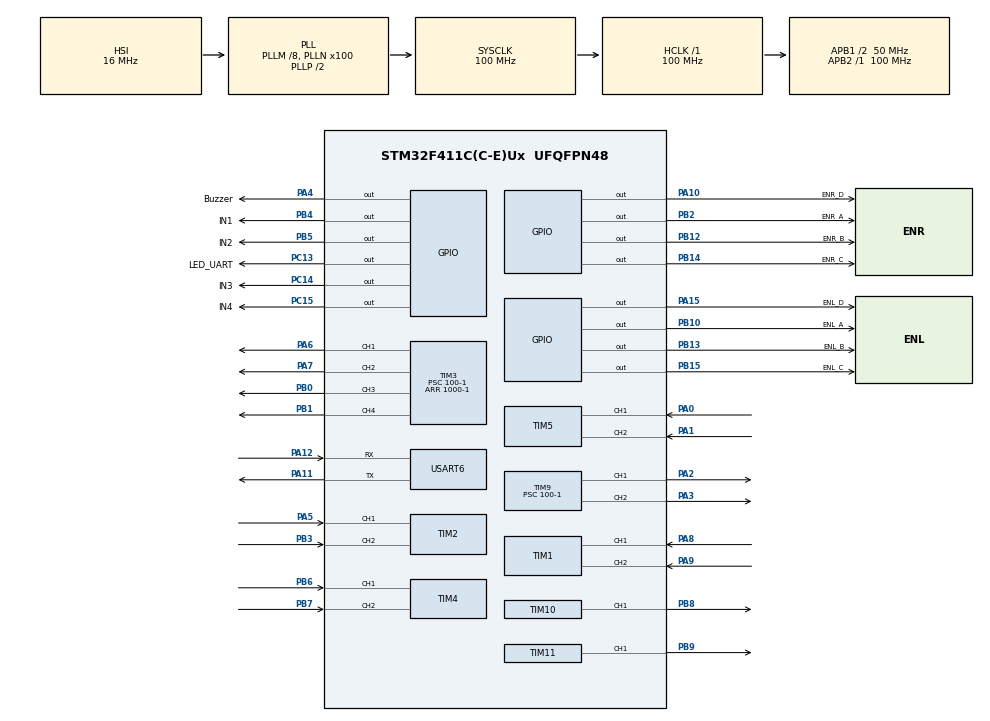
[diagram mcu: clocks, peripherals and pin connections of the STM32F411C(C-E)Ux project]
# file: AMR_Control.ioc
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Dma.Request0=USART6_RX
Dma.USART6_RX.0.Direction=DMA_PERIPH_TO_MEMORY
Dma.USART6_RX.0.FIFOMode=DMA_FIFOMODE_DISABLE
Dma.USART6_RX.0.Instance=DMA2_Stream1
Dma.USART6_RX.0.MemDataAlignment=DMA_MDATAALIGN_BYTE
Dma.USART6_RX.0.MemInc=DMA_MINC_ENABLE
Dma.USART6_RX.0.Mode=DMA_CIRCULAR
Dma.USART6_RX.0.PeriphDataAlignment=DMA_PDATAALIGN_BYTE
Dma.USART6_RX.0.PeriphInc=DMA_PINC_DISABLE
Dma.USART6_RX.0.Priority=DMA_PRIORITY_LOW
Mcu.Family=STM32F4
Mcu.Name=STM32F411C(C-E)Ux
Mcu.Package=UFQFPN48
NVIC.DMA2_Stream1_IRQn=true\:0\:0\:false\:false\:true\:false\:true\:true
NVIC.PriorityGroup=NVIC_PRIORITYGROUP_4
NVIC.TIM1_CC_IRQn=true\:0\:0\:false\:false\:true\:true\:true\:true
NVIC.TIM2_IRQn=true\:0\:0\:false\:false\:true\:true\:true\:true
NVIC.TIM4_IRQn=true\:0\:0\:false\:false\:true\:true\:true\:true
NVIC.TIM5_IRQn=true\:0\:0\:false\:false\:true\:true\:true\:true
NVIC.USART6_IRQn=true\:0\:0\:false\:false\:true\:true\:true\:true
PA0-WKUP.Signal=S_TIM5_CH1
PA1.Signal=S_TIM5_CH2
PA10.GPIO_Label=ENR_D
PA10.Signal=GPIO_Output
PA11.Mode=Asynchronous
PA11.Signal=USART6_TX
PA12.Mode=Asynchronous
PA12.Signal=USART6_RX
PA13.Mode=Serial_Wire
PA13.Signal=SYS_JTMS-SWDIO
PA14.Mode=Serial_Wire
PA14.Signal=SYS_JTCK-SWCLK
PA15.GPIO_Label=ENL_D
PA15.Signal=GPIO_Output
PA2.Signal=S_TIM9_CH1
PA3.Signal=S_TIM9_CH2
PA4.GPIO_Label=Buzzer
PA4.Signal=GPIO_Output
PA5.Signal=S_TIM2_CH1_ETR
PA6.Signal=S_TIM3_CH1
PA7.Signal=S_TIM3_CH2
PA8.Signal=S_TIM1_CH1
PA9.Signal=S_TIM1_CH2
PB0.Signal=S_TIM3_CH3
PB1.Signal=S_TIM3_CH4
PB10.GPIO_Label=ENL_A
PB10.Signal=GPIO_Output
PB12.GPIO_Label=ENR_B
PB12.Signal=GPIO_Output
PB13.GPIO_Label=ENL_B
PB13.Signal=GPIO_Output
PB14.GPIO_Label=ENR_C
PB14.Signal=GPIO_Output
PB15.GPIO_Label=ENL_C
PB15.Signal=GPIO_Output
PB2.GPIO_Label=ENR_A
PB2.Signal=GPIO_Output
PB3.Signal=S_TIM2_CH2
PB4.GPIO_Label=IN1
PB4.Signal=GPIO_Output
PB5.GPIO_Label=IN2
PB5.Signal=GPIO_Output
PB6.Signal=S_TIM4_CH1
PB7.Signal=S_TIM4_CH2
PB8.Signal=S_TIM10_CH1
PB9.Signal=S_TIM11_CH1
PC13-ANTI_TAMP.GPIO_Label=LED_UART
PC13-ANTI_TAMP.Signal=GPIO_Output
PC14-OSC32_IN.GPIO_Label=IN3
PC14-OSC32_IN.Signal=GPIO_Output
PC15-OSC32_OUT.GPIO_Label=IN4
PC15-OSC32_OUT.Signal=GPIO_Output
PH0\ -\ OSC_IN.Mode=HSE-External-Oscillator
PH0\ -\ OSC_IN.Signal=RCC_OSC_IN
PH1\ -\ OSC_OUT.Mode=HSE-External-Oscillator
PH1\ -\ OSC_OUT.Signal=RCC_OSC_OUT
ProjectManager.HeapSize=0x200
ProjectManager.StackSize=0x400
ProjectManager.TargetToolchain=STM32CubeIDE
RCC.48MHZClocksFreq_Value=50000000
RCC.AHBFreq_Value=100000000
RCC.APB1CLKDivider=RCC_HCLK_DIV2
RCC.APB1Freq_Value=50000000
RCC.APB1TimFreq_Value=100000000
RCC.APB2Freq_Value=100000000
RCC.APB2TimFreq_Value=100000000
RCC.CortexFreq_Value=100000000
RCC.HCLKFreq_Value=100000000
RCC.HSE_VALUE=25000000
RCC.HSI_VALUE=16000000
RCC.LSE_VALUE=32768
RCC.PLLM=8
RCC.PLLN=100
RCC.SYSCLKFreq_VALUE=100000000
RCC.SYSCLKSource=RCC_SYSCLKSOURCE_PLLCLK
RCC.VCOOutputFreq_Value=200000000
SH.S_TIM10_CH1.0=TIM10_CH1,PWM Generation1 CH1
SH.S_TIM11_CH1.0=TIM11_CH1,PWM Generation1 CH1
SH.S_TIM1_CH1.0=TIM1_CH1,Encoder_Interface
SH.S_TIM1_CH2.0=TIM1_CH2,Encoder_Interface
SH.S_TIM2_CH1_ETR.0=TIM2_CH1,Encoder_Interface
SH.S_TIM2_CH2.0=TIM2_CH2,Encoder_Interface
SH.S_TIM3_CH1.0=TIM3_CH1,PWM Generation1 CH1
SH.S_TIM3_CH2.0=TIM3_CH2,PWM Generation2 CH2
SH.S_TIM3_CH3.0=TIM3_CH3,PWM Generation3 CH3
SH.S_TIM3_CH4.0=TIM3_CH4,PWM Generation4 CH4
SH.S_TIM4_CH1.0=TIM4_CH1,Encoder_Interface
SH.S_TIM4_CH2.0=TIM4_CH2,Encoder_Interface
SH.S_TIM5_CH1.0=TIM5_CH1,Encoder_Interface
SH.S_TIM5_CH2.0=TIM5_CH2,Encoder_Interface
SH.S_TIM9_CH1.0=TIM9_CH1,PWM Generation1 CH1
SH.S_TIM9_CH2.0=TIM9_CH2,PWM Generation2 CH2
TIM10.Channel=TIM_CHANNEL_1
TIM10.Period=1000-1
TIM10.Prescaler=100-1
TIM11.Channel=TIM_CHANNEL_1
TIM11.Period=1000-1
TIM11.Prescaler=100-1
TIM3.Channel-PWM\ Generation1\ CH1=TIM_CHANNEL_1
TIM3.Channel-PWM\ Generation2\ CH2=TIM_CHANNEL_2
TIM3.Channel-PWM\ Generation3\ CH3=TIM_CHANNEL_3
TIM3.Channel-PWM\ Generation4\ CH4=TIM_CHANNEL_4
TIM3.Period=1000-1
TIM3.Prescaler=100-1
TIM9.Channel-PWM\ Generation1\ CH1=TIM_CHANNEL_1
TIM9.Channel-PWM\ Generation2\ CH2=TIM_CHANNEL_2
TIM9.Period=1000-1
TIM9.Prescaler=100-1
USART6.VirtualMode=VM_ASYNC
VP_TIM10_VS_ClockSourceINT.Mode=Enable_Timer
VP_TIM11_VS_ClockSourceINT.Mode=Enable_Timer
VP_TIM3_VS_ClockSourceINT.Mode=Internal
VP_TIM9_VS_ClockSourceINT.Mode=Internal
board=custom

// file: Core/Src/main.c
/* USER CODE BEGIN Header */
/**
  ******************************************************************************
  * @file           : main.c
  * @brief          : Main program body
  ******************************************************************************
  * @attention
  *
  * Copyright (c) 2024 STMicroelectronics.
  * All rights reserved.
  *
  * This software is licensed under terms that can be found in the LICENSE file
  * in the root directory of this software component.
  * If no LICENSE file comes with this software, it is provided AS-IS.
  *
  ******************************************************************************
  */
/* USER CODE END Header */
#include "main.h"

/* USER CODE BEGIN Includes */
#include "Motor.h"
#include "Aktuator.h"
#include "PID_Driver.h"
#include "BNO08X.h"
#include "communication_full.h"
#include <math.h>
#include <stdlib.h>
#include <stdbool.h>
#include <stdio.h>
/* USER CODE END Includes */

/* USER CODE BEGIN PTD */
#define SEND_DATA_INTERVAL	100
/* USER CODE END PTD */

TIM_HandleTypeDef htim1;
TIM_HandleTypeDef htim2;
TIM_HandleTypeDef htim3;
TIM_HandleTypeDef htim4;
TIM_HandleTypeDef htim5;
TIM_HandleTypeDef htim9;
TIM_HandleTypeDef htim10;
TIM_HandleTypeDef htim11;

UART_HandleTypeDef huart6;
DMA_HandleTypeDef hdma_usart6_rx;

/* USER CODE BEGIN PV */
//---------------- MOTOR DECLARATION ---------------------//
extern motor_t motor_A, motor_B, motor_C, motor_D;

//---------------- ENCODER DECLARATION ---------------------//
extern encoder_t encoder_A, encoder_B, encoder_C, encoder_D;

//---------------- AKTUATOR DECLARATION --------------------//
aktuator_t aktuator;

//---------------- KINEMATIC DECLARATION ---------------------//
kinematic_t kinematic;

//---------------- PID DECLARATION ---------------------//
PIDController pid_vy;
PIDController pid_vx;
PIDController pid_vt;
PIDController pid_yaw;

//---------------- BNO08X DECLARATION ---------------------//
BNO08X_Typedef BNO08X_sensor;

// Typedef Communication PC
com_ctrl_get_t message_from_sensor;

// Step Message
uint16_t currentStep = 0;

// Offset Yaw
int16_t Yaw_Init = 0;
bool is_yaw_calibrated = false;

/* USER CODE END PV */

void SystemClock_Config(void);
static void MX_GPIO_Init(void);
static void MX_DMA_Init(void);
static void MX_TIM1_Init(void);
static void MX_TIM2_Init(void);
static void MX_TIM3_Init(void);
static void MX_TIM4_Init(void);
static void MX_TIM5_Init(void);
static void MX_TIM9_Init(void);
static void MX_TIM10_Init(void);
static void MX_TIM11_Init(void);
static void MX_USART6_UART_Init(void);
/* USER CODE BEGIN PFP */

bool run_to_point(double sx, double sy, double st, double error);
bool handle_heading(int16_t heading, int16_t error);
bool run_to_point_orientation(double sx, double sy, uint16_t heading, double error);
bool set_heading(int16_t heading, int16_t error);
bool run_to_point_with_yaw(int16_t sx, int16_t sy, uint16_t heading, int16_t error);
/* USER CODE END PFP */

/* USER CODE BEGIN 0 */

void HAL_TIM_IC_CaptureCallback(TIM_HandleTypeDef *htim)
{
	if(htim->Instance  == TIM1){
		encoder_A.counter  	= __HAL_TIM_GET_COUNTER(htim);
		encoder_A.counts 	= (int16_t)encoder_A.counter;
		encoder_A.position	= encoder_A.counts/4;
	}
	if(htim->Instance  == TIM2){
		encoder_B.counter  	= __HAL_TIM_GET_COUNTER(htim);
		encoder_B.counts 	= (int16_t)encoder_B.counter;
		encoder_B.position	= encoder_B.counts/4;
	}
	if(htim->Instance  == TIM4){
		encoder_C.counter  	= __HAL_TIM_GET_COUNTER(htim);
		encoder_C.counts 	= (int16_t)encoder_C.counter;
		encoder_C.position	= encoder_C.counts/4;
	}
	if(htim->Instance  == TIM5){
		encoder_D.counter  	= __HAL_TIM_GET_COUNTER(htim);
		encoder_D.counts 	= (int16_t)encoder_D.counter;
		encoder_D.position	= encoder_D.counts/4;
	}

	// Encoder Eksternal
	kinematic.S1 = -encoder_A.position*PULSE_TO_DIST;
	kinematic.S2 = -encoder_B.position*PULSE_TO_DIST;
	kinematic.S3 = encoder_C.position*PULSE_TO_DIST;
	kinematic.S4 = -encoder_D.position*PULSE_TO_DIST;
	kinematic.V1 = -encoder_A.speed*PULSE_TO_DIST;
	kinematic.V2 = -encoder_B.speed*PULSE_TO_DIST;
	kinematic.V3 = encoder_C.speed*PULSE_TO_DIST;
	kinematic.V4 = -encoder_D.speed*PULSE_TO_DIST;

	// External Encoder (Nomor 3->x dan 4->y)
	kinematic.St = kinematic.St + agv_kinematic_ext_St(kinematic.Sx,kinematic.Sy,encoder_C.position*PULSE_TO_DIST,-encoder_D.position*PULSE_TO_DIST, 0);
	kinematic.Vt = kinematic.Vt + agv_kinematic_ext_St(kinematic.Vx,kinematic.Vy,encoder_C.speed*PULSE_TO_DIST,-encoder_D.speed*PULSE_TO_DIST, 0);
	kinematic.Sx = agv_kinematic_ext_Sx(-encoder_A.position*PULSE_TO_DIST,-encoder_B.position*PULSE_TO_DIST,encoder_C.position*PULSE_TO_DIST,-encoder_D.position*PULSE_TO_DIST, 0);
	kinematic.Sy = agv_kinematic_ext_Sy(-encoder_A.position*PULSE_TO_DIST,-encoder_B.position*PULSE_TO_DIST,encoder_C.position*PULSE_TO_DIST,-encoder_D.position*PULSE_TO_DIST, 0);
	kinematic.Vx = agv_kinematic_ext_Sx(-encoder_A.speed*PULSE_TO_DIST,-encoder_B.speed*PULSE_TO_DIST,encoder_C.speed*PULSE_TO_DIST,-encoder_D.speed*PULSE_TO_DIST, 0);
	kinematic.Vy = agv_kinematic_ext_Sy(-encoder_A.speed*PULSE_TO_DIST,-encoder_B.speed*PULSE_TO_DIST,encoder_C.speed*PULSE_TO_DIST,-encoder_D.speed*PULSE_TO_DIST, 0);
}

uint32_t CurrentTick = 0;
uint32_t SendDataTick = 0;
int astarlength = 0;
int astarid = 0;
int lastlength = 0;
int lastid = 0;
int lastcmd = 0;
int last_i = 0;
int len_msg = 0;
uint32_t msgid = 0;
uint32_t current_msgid = 0;
void HAL_UART_RxCpltCallback(UART_HandleTypeDef *huart)
{
	if(huart == &huart6){
		rx_ctrl_get(&message_from_sensor);
		astarlength = message_from_sensor.astar_length;
		astarid = message_from_sensor.astar_id;
		msgid++;
	}
}

int16_t data_sx=0;
int16_t data_sy=0;
int16_t data_st=0;
/* USER CODE END 0 */

uint8_t flag_interrupt = 0;
uint8_t last_interrupted = 0;
uint8_t x_arr[100];
uint8_t y_arr[100];
//int last_length;
int main(void)
{

  /* MCU Configuration--------------------------------------------------------*/

  /* Reset of all peripherals, Initializes the Flash interface and the Systick. */
  HAL_Init();

  /* Configure the system clock */
  SystemClock_Config();

  /* Initialize all configured peripherals */
  MX_GPIO_Init();
  MX_DMA_Init();
  MX_TIM1_Init();
  MX_TIM2_Init();
  MX_TIM3_Init();
  MX_TIM4_Init();
  MX_TIM5_Init();
  MX_TIM9_Init();
  MX_TIM10_Init();
  MX_TIM11_Init();
  MX_USART6_UART_Init();
  /* USER CODE BEGIN 2 */

  //+++++++++++++++++++++++++++++++++ MOTOR INITIALIZATION +++++++++++++++++++++++++++++//
  // Configuration 'Motor A'
  motor_A.tim_R = &htim9;
  motor_A.tim_L = &htim9;
  motor_A.tim_number_R = TIM9;
  motor_A.tim_number_L = TIM9;
  motor_A.channel_R = 1;
  motor_A.channel_L = 2;
  motor_A.EN_PORT_R = ENR_C_GPIO_Port;
  motor_A.EN_PORT_L = ENL_C_GPIO_Port;
  motor_A.EN_PIN_R = ENR_C_Pin;
  motor_A.EN_PIN_L = ENL_C_Pin;

  // Configuration 'Motor B'
  motor_B.tim_R = &htim3;
  motor_B.tim_L = &htim3;
  motor_B.tim_number_R = TIM3;
  motor_B.tim_number_L = TIM3;
  motor_B.channel_R = 1;
  motor_B.channel_L = 2;
  motor_B.EN_PORT_R = ENR_B_GPIO_Port;
  motor_B.EN_PORT_L = ENL_B_GPIO_Port;
  motor_B.EN_PIN_R = ENR_B_Pin;
  motor_B.EN_PIN_L = ENL_B_Pin;

  // Configuration 'Motor C'
  motor_C.tim_R = &htim3;
  motor_C.tim_L = &htim3;
  motor_C.tim_number_R = TIM3;
  motor_C.tim_number_L = TIM3;
  motor_C.channel_R = 3;
  motor_C.channel_L = 4;
  motor_C.EN_PORT_R = ENR_A_GPIO_Port;
  motor_C.EN_PORT_L = ENL_A_GPIO_Port;
  motor_C.EN_PIN_R = ENR_A_Pin;
  motor_C.EN_PIN_L = ENL_A_Pin;

  // Configuration 'Motor D'
  motor_D.tim_R = &htim10;
  motor_D.tim_L = &htim11;
  motor_D.tim_number_R = TIM10;
  motor_D.tim_number_L = TIM11;
  motor_D.channel_R = 1;
  motor_D.channel_L = 1;
  motor_D.EN_PORT_R = ENR_D_GPIO_Port;
  motor_D.EN_PORT_L = ENL_D_GPIO_Port;
  motor_D.EN_PIN_R = ENR_D_Pin;
  motor_D.EN_PIN_L = ENL_D_Pin;

  //+++++++++++++++++++++++++++++++++ ENCODER INITIALIZATION ++++++++++++++++++++++++++++++//
  agv_encoder_start(encoder_A, &htim1, TIM1);
  agv_encoder_start(encoder_B, &htim2, TIM2);
  agv_encoder_start(encoder_C, &htim4, TIM4);
  agv_encoder_start(encoder_D, &htim5, TIM5);

  //+++++++++++++++++++++++++++++++++ ENCODER TO MOTOR ++++++++++++++++++++++++++++++++++++//
  motor_A.ENC = encoder_A;
  motor_B.ENC = encoder_B;
  motor_C.ENC = encoder_C;
  motor_D.ENC = encoder_D;

  //+++++++++++++++++++++++++++++++++ AKTUATOR INTIALIZATION ++++++++++++++++++++++++++++++//
  aktuator.PORT_IN1 = GPIOB;
  aktuator.PIN_IN1 = GPIO_PIN_5;
  aktuator.PORT_IN2 = GPIOC;
  aktuator.PIN_IN2 = GPIO_PIN_13;
  aktuator.PORT_IN3 = GPIOC;
  aktuator.PIN_IN3 = GPIO_PIN_14;
  aktuator.PORT_IN4 = GPIOC;
  aktuator.PIN_IN4 = GPIO_PIN_15 ;

  //+++++++++++++++++++++++++++++++++ COM START +++++++++++++++++++++++++++++++++++++++++++//
  komunikasi_ctrl_init(&huart6);
  rx_ctrl_start_get();

  //+++++++++++++++++++++++++++++++++ PID INITIALIZATION ++++++++++++++++++++++++++++++//
  // Y Axis
  pid_vy.Kp = 19;				pid_vy.Ki = 1;				pid_vy.Kd = 0.001;
  pid_vy.limMax = 600; 		pid_vy.limMin = -600; 		pid_vy.limMaxInt = 1; 	pid_vy.limMinInt = -1;
  pid_vy.T_sample = 0.1;
  PIDController_Init(&pid_vy);

  // X Axis
  pid_vx.Kp = 19;				pid_vx.Ki = 1;				pid_vx.Kd = 0.001;
  pid_vx.limMax = 600; 		pid_vx.limMin = -600; 		pid_vx.limMaxInt = 1; 	pid_vx.limMinInt = -1;
  pid_vx.T_sample = 0.1;
  PIDController_Init(&pid_vx);

  // T Axis
  pid_vt.Kp = 19;				pid_vt.Ki = 1;				pid_vt.Kd = 0.001;
  pid_vt.limMax = 600; 		pid_vt.limMin = -600; 		pid_vt.limMaxInt = 1; 	pid_vt.limMinInt = -1;
  pid_vt.T_sample = 0.1;
  PIDController_Init(&pid_vt);
    // Yaw Direction
//    pid_yaw.Kp = 40;			pid_yaw.Ki = 48;				pid_yaw.Kd = 0.02;
    pid_yaw.Kp = 18;			pid_yaw.Ki = 15;			pid_yaw.Kd = 0.45;
    pid_yaw.limMax = 800; 		pid_yaw.limMin = -800; 		pid_yaw.limMaxInt = 0.1; 	pid_yaw.limMinInt = -0.1;
    pid_yaw.T_sample = 0.1;
    PIDController_Init(&pid_yaw);

	HAL_GPIO_WritePin(GPIOC, GPIO_PIN_13, GPIO_PIN_RESET);

	//------------------------------ ONE STEP TEST --------------------------------------------------------//
	aktuator_down(aktuator);
	HAL_Delay(3000);
	agv_reset_all(motor_A, motor_B, motor_C, motor_D);
	agv_stop_all(motor_A, motor_B, motor_C, motor_D);
	aktuator_reset(aktuator);

  /* USER CODE END 2 */

  /* Infinite loop */
  /* USER CODE BEGIN WHILE */
	while(1)
	  {
		//--------------------- SEND DATA TESTING ----------------------------//
//			tx_ctrl_send_data(kinematic.V1, kinematic.V2, kinematic.V3, kinematic.V4, kinematic.S1,kinematic.S3,kinematic.S4);
		//--------------------- YAW CALIBRATION PROGRAM ----------------------------//
	//		if(!is_yaw_calibrated && message_from_sensor.yaw != 0){
	//			Yaw_Init = message_from_sensor.yaw;
	//		}

		//--------------------- SENDING DATA ODOMETRY ----------------------------//

		CurrentTick = HAL_GetTick();

		if(CurrentTick-SendDataTick > 100){
			tx_ctrl_send_Odometry(kinematic.Sx,kinematic.Sy,kinematic.St,kinematic.Vx,kinematic.Vy,kinematic.Vt);
			SendDataTick = CurrentTick;
		}

	//------------------------- TEST BENCH ----------------------------------------//
//		  agv_reset_all(motor_A, motor_B, motor_C, motor_D);
//		  agv_stop_all(motor_A, motor_B, motor_C, motor_D);
//		  agv_speed_to_pwm(motor_A, 500);
//		  HAL_Delay(2000);
//		  agv_reset_all(motor_A, motor_B, motor_C, motor_D);
//		  agv_stop_all(motor_A, motor_B, motor_C, motor_D);
//		  agv_speed_to_pwm(motor_B, 500);
//		  HAL_Delay(2000);
//		  agv_reset_all(motor_A, motor_B, motor_C, motor_D);
//		  agv_stop_all(motor_A, motor_B, motor_C, motor_D);
//		  agv_speed_to_pwm(motor_C, 500);
//		  HAL_Delay(2000);
//		  agv_reset_all(motor_A, motor_B, motor_C, motor_D);
//		  agv_stop_all(motor_A, motor_B, motor_C, motor_D);
//		  agv_speed_to_pwm(motor_D, 500);
//		  HAL_Delay(2000);

	//----------------------------- TEST KINEMATIC --------------------------------------------//

	//	  agv_inverse_kinematic(500, 0, 0, 0, motor_A, motor_B, motor_C, motor_D);
	//	  HAL_Delay(2000);
	//	  agv_inverse_kinematic(-500, 0, 0, 0, motor_A, motor_B, motor_C, motor_D);
	//	  HAL_Delay(2000);
	//	  agv_inverse_kinematic(0, 500, 0, 0, motor_A, motor_B, motor_C, motor_D);
	//	  HAL_Delay(2000);
	//	  agv_inverse_kinematic(0, -500, 0, 0, motor_A, motor_B, motor_C, motor_D);
	//	  HAL_Delay(2000);
	//	  agv_inverse_kinematic(0, 0, 500, 0, motor_A, motor_B, motor_C, motor_D);
	//	  HAL_Delay(2000);
	//	  agv_inverse_kinematic(0, 0, -500, 0, motor_A, motor_B, motor_C, motor_D);
	//	  HAL_Delay(2000);

	//----------------------------- TEST POINT --------------------------------------------//
	//	  run_to_point(0,300,0,0.1);
	//	  run_to_point_orientation(0,300,0,3);
	//	  run_to_point_with_yaw(0,5000,0,1);
	//    handle_heading(45,5);
	//	  handle_heading(180,5);
	//	  HAL_Delay(100);
	//	set_heading(90,0.1);

	//----------------------------- TEST HEADING --------------------------------------------//
	//		run_to_point_orientation(0,100,90,2);
	//----------------------------- RUNNING COMMAND --------------------------------------------//
	//	  if(currentStep <= message_from_sensor.step){
	//		  if(run_to_point(message_from_sensor.x_pos*100,message_from_sensor.y_pos*100,message_from_sensor.orientation*100,5)){
	//
	//			// Sending to PC that Task is Done
	//			currentStep = message_from_sensor.step;
	//
	//			// Sending to PC that Task is Done
	//			tx_ctrl_task_done(currentStep);
	//		  }
	//	  }
	//----------------------------- RUNNING ASTAR --------------------------------------------//
		if(lastid != message_from_sensor.astar_msg_id && (message_from_sensor.astar_id+1) == message_from_sensor.astar_length){

			len_msg = message_from_sensor.astar_total_length-1;

			for(int i = len_msg; i >= 0; i--){
				last_i = i;

				uint32_t cntr = 0;
				while(!run_to_point_with_yaw(message_from_sensor.astar_coordinate_x[i]*500,message_from_sensor.astar_coordinate_y[i]*500,0,5)){
					cntr++;
					if(cntr > 8000){
						break;
					}
					// Interrupt message from Command
					if(message_from_sensor.id_data != lastcmd){
						agv_reset_all(motor_A, motor_B, motor_C, motor_D);
						agv_stop_all(motor_A, motor_B, motor_C, motor_D);
						break;
					}
				}
					handle_heading(0,1);

				if(flag_interrupt==1){
					HAL_Delay(100);
				}

				if((message_from_sensor.id_data != lastcmd && (message_from_sensor.x_data != 0 || message_from_sensor.y_data != 0 || message_from_sensor.t_data != 0))){
					lastlength = message_from_sensor.astar_total_length;
					lastcmd = message_from_sensor.id_data;
					flag_interrupt = 1;
					i=-1;
				}
				tx_ctrl_send_Odometry(kinematic.Sx,kinematic.Sy,kinematic.St,kinematic.Vx,kinematic.Vy,kinematic.Vt);

			}
			tx_ctrl_task_done(message_from_sensor.astar_msg_id, &message_from_sensor);
			lastlength = message_from_sensor.astar_total_length;
			lastid = message_from_sensor.astar_msg_id;
		}
		if(message_from_sensor.aktuator == 1 && (message_from_sensor.id_data != lastcmd)){
			aktuator_up(aktuator);
			message_from_sensor.aktuator = 0;
			lastcmd = message_from_sensor.id_data;
		}
		else if((message_from_sensor.aktuator == 2) && (message_from_sensor.id_data != lastcmd)){
			aktuator_down(aktuator);
			message_from_sensor.aktuator = 0;
			lastcmd = message_from_sensor.id_data;
		}
		if((message_from_sensor.id_data != lastcmd && (message_from_sensor.x_data != 0 || message_from_sensor.y_data != 0 || message_from_sensor.t_data != 0))){
			data_sx = kinematic.Sx+message_from_sensor.x_data;
			data_sy = kinematic.Sy+message_from_sensor.y_data;
			data_st = (abs(message_from_sensor.yaw)/100)+message_from_sensor.t_data;

			while(!run_to_point_with_yaw(data_sx,data_sy,0,5)){}
			lastcmd = message_from_sensor.id_data;
			lastlength = message_from_sensor.astar_total_length;
		}
		else{
			agv_stop_all(motor_A, motor_B, motor_C, motor_D);
		}

	//----------------------------- END ASTAR --------------------------------------------//

	    /* USER CODE END WHILE */

	  }
}

void SystemClock_Config(void)
{
  RCC_OscInitTypeDef RCC_OscInitStruct = {0};
  RCC_ClkInitTypeDef RCC_ClkInitStruct = {0};

  /** Configure the main internal regulator output voltage
  */
  __HAL_RCC_PWR_CLK_ENABLE();
  __HAL_PWR_VOLTAGESCALING_CONFIG(PWR_REGULATOR_VOLTAGE_SCALE1);

  /** Initializes the RCC Oscillators according to the specified parameters
  * in the RCC_OscInitTypeDef structure.
  */
  RCC_OscInitStruct.OscillatorType = RCC_OSCILLATORTYPE_HSI;
  RCC_OscInitStruct.HSIState = RCC_HSI_ON;
  RCC_OscInitStruct.HSICalibrationValue = RCC_HSICALIBRATION_DEFAULT;
  RCC_OscInitStruct.PLL.PLLState = RCC_PLL_ON;
  RCC_OscInitStruct.PLL.PLLSource = RCC_PLLSOURCE_HSI;
  RCC_OscInitStruct.PLL.PLLM = 8;
  RCC_OscInitStruct.PLL.PLLN = 100;
  RCC_OscInitStruct.PLL.PLLP = RCC_PLLP_DIV2;
  RCC_OscInitStruct.PLL.PLLQ = 4;
  if (HAL_RCC_OscConfig(&RCC_OscInitStruct) != HAL_OK)
  {
    Error_Handler();
  }

  /** Initializes the CPU, AHB and APB buses clocks
  */
  RCC_ClkInitStruct.ClockType = RCC_CLOCKTYPE_HCLK|RCC_CLOCKTYPE_SYSCLK
                              |RCC_CLOCKTYPE_PCLK1|RCC_CLOCKTYPE_PCLK2;
  RCC_ClkInitStruct.SYSCLKSource = RCC_SYSCLKSOURCE_PLLCLK;
  RCC_ClkInitStruct.AHBCLKDivider = RCC_SYSCLK_DIV1;
  RCC_ClkInitStruct.APB1CLKDivider = RCC_HCLK_DIV2;
  RCC_ClkInitStruct.APB2CLKDivider = RCC_HCLK_DIV1;

  if (HAL_RCC_ClockConfig(&RCC_ClkInitStruct, FLASH_LATENCY_3) != HAL_OK)
  {
    Error_Handler();
  }
}

static void MX_TIM1_Init(void)
{

  TIM_Encoder_InitTypeDef sConfig = {0};
  TIM_MasterConfigTypeDef sMasterConfig = {0};

  htim1.Instance = TIM1;
  htim1.Init.Prescaler = 0;
  htim1.Init.CounterMode = TIM_COUNTERMODE_UP;
  htim1.Init.Period = 65535;
  htim1.Init.ClockDivision = TIM_CLOCKDIVISION_DIV1;
  htim1.Init.RepetitionCounter = 0;
  htim1.Init.AutoReloadPreload = TIM_AUTORELOAD_PRELOAD_DISABLE;
  sConfig.EncoderMode = TIM_ENCODERMODE_TI1;
  sConfig.IC1Polarity = TIM_ICPOLARITY_RISING;
  sConfig.IC1Selection = TIM_ICSELECTION_DIRECTTI;
  sConfig.IC1Prescaler = TIM_ICPSC_DIV1;
  sConfig.IC1Filter = 0;
  sConfig.IC2Polarity = TIM_ICPOLARITY_RISING;
  sConfig.IC2Selection = TIM_ICSELECTION_DIRECTTI;
  sConfig.IC2Prescaler = TIM_ICPSC_DIV1;
  sConfig.IC2Filter = 0;
  if (HAL_TIM_Encoder_Init(&htim1, &sConfig) != HAL_OK)
  {
    Error_Handler();
  }
  sMasterConfig.MasterOutputTrigger = TIM_TRGO_RESET;
  sMasterConfig.MasterSlaveMode = TIM_MASTERSLAVEMODE_DISABLE;
  if (HAL_TIMEx_MasterConfigSynchronization(&htim1, &sMasterConfig) != HAL_OK)
  {
    Error_Handler();
  }

}

static void MX_TIM2_Init(void)
{

  TIM_Encoder_InitTypeDef sConfig = {0};
  TIM_MasterConfigTypeDef sMasterConfig = {0};

  htim2.Instance = TIM2;
  htim2.Init.Prescaler = 0;
  htim2.Init.CounterMode = TIM_COUNTERMODE_UP;
  htim2.Init.Period = 4294967295;
  htim2.Init.ClockDivision = TIM_CLOCKDIVISION_DIV1;
  htim2.Init.AutoReloadPreload = TIM_AUTORELOAD_PRELOAD_DISABLE;
  sConfig.EncoderMode = TIM_ENCODERMODE_TI1;
  sConfig.IC1Polarity = TIM_ICPOLARITY_RISING;
  sConfig.IC1Selection = TIM_ICSELECTION_DIRECTTI;
  sConfig.IC1Prescaler = TIM_ICPSC_DIV1;
  sConfig.IC1Filter = 0;
  sConfig.IC2Polarity = TIM_ICPOLARITY_RISING;
  sConfig.IC2Selection = TIM_ICSELECTION_DIRECTTI;
  sConfig.IC2Prescaler = TIM_ICPSC_DIV1;
  sConfig.IC2Filter = 0;
  if (HAL_TIM_Encoder_Init(&htim2, &sConfig) != HAL_OK)
  {
    Error_Handler();
  }
  sMasterConfig.MasterOutputTrigger = TIM_TRGO_RESET;
  sMasterConfig.MasterSlaveMode = TIM_MASTERSLAVEMODE_DISABLE;
  if (HAL_TIMEx_MasterConfigSynchronization(&htim2, &sMasterConfig) != HAL_OK)
  {
    Error_Handler();
  }

}

static void MX_TIM3_Init(void)
{

  TIM_ClockConfigTypeDef sClockSourceConfig = {0};
  TIM_MasterConfigTypeDef sMasterConfig = {0};
  TIM_OC_InitTypeDef sConfigOC = {0};

  htim3.Instance = TIM3;
  htim3.Init.Prescaler = 100-1;
  htim3.Init.CounterMode = TIM_COUNTERMODE_UP;
  htim3.Init.Period = 1000-1;
  htim3.Init.ClockDivision = TIM_CLOCKDIVISION_DIV1;
  htim3.Init.AutoReloadPreload = TIM_AUTORELOAD_PRELOAD_DISABLE;
  if (HAL_TIM_Base_Init(&htim3) != HAL_OK)
  {
    Error_Handler();
  }
  sClockSourceConfig.ClockSource = TIM_CLOCKSOURCE_INTERNAL;
  if (HAL_TIM_ConfigClockSource(&htim3, &sClockSourceConfig) != HAL_OK)
  {
    Error_Handler();
  }
  if (HAL_TIM_PWM_Init(&htim3) != HAL_OK)
  {
    Error_Handler();
  }
  sMasterConfig.MasterOutputTrigger = TIM_TRGO_RESET;
  sMasterConfig.MasterSlaveMode = TIM_MASTERSLAVEMODE_DISABLE;
  if (HAL_TIMEx_MasterConfigSynchronization(&htim3, &sMasterConfig) != HAL_OK)
  {
    Error_Handler();
  }
  sConfigOC.OCMode = TIM_OCMODE_PWM1;
  sConfigOC.Pulse = 0;
  sConfigOC.OCPolarity = TIM_OCPOLARITY_HIGH;
  sConfigOC.OCFastMode = TIM_OCFAST_DISABLE;
  if (HAL_TIM_PWM_ConfigChannel(&htim3, &sConfigOC, TIM_CHANNEL_1) != HAL_OK)
  {
    Error_Handler();
  }
  if (HAL_TIM_PWM_ConfigChannel(&htim3, &sConfigOC, TIM_CHANNEL_2) != HAL_OK)
  {
    Error_Handler();
  }
  if (HAL_TIM_PWM_ConfigChannel(&htim3, &sConfigOC, TIM_CHANNEL_3) != HAL_OK)
  {
    Error_Handler();
  }
  if (HAL_TIM_PWM_ConfigChannel(&htim3, &sConfigOC, TIM_CHANNEL_4) != HAL_OK)
  {
    Error_Handler();
  }
  HAL_TIM_MspPostInit(&htim3);

}

static void MX_TIM4_Init(void)
{

  TIM_Encoder_InitTypeDef sConfig = {0};
  TIM_MasterConfigTypeDef sMasterConfig = {0};

  htim4.Instance = TIM4;
  htim4.Init.Prescaler = 0;
  htim4.Init.CounterMode = TIM_COUNTERMODE_UP;
  htim4.Init.Period = 65535;
  htim4.Init.ClockDivision = TIM_CLOCKDIVISION_DIV1;
  htim4.Init.AutoReloadPreload = TIM_AUTORELOAD_PRELOAD_DISABLE;
  sConfig.EncoderMode = TIM_ENCODERMODE_TI1;
  sConfig.IC1Polarity = TIM_ICPOLARITY_RISING;
  sConfig.IC1Selection = TIM_ICSELECTION_DIRECTTI;
  sConfig.IC1Prescaler = TIM_ICPSC_DIV1;
  sConfig.IC1Filter = 0;
  sConfig.IC2Polarity = TIM_ICPOLARITY_RISING;
  sConfig.IC2Selection = TIM_ICSELECTION_DIRECTTI;
  sConfig.IC2Prescaler = TIM_ICPSC_DIV1;
  sConfig.IC2Filter = 0;
  if (HAL_TIM_Encoder_Init(&htim4, &sConfig) != HAL_OK)
  {
    Error_Handler();
  }
  sMasterConfig.MasterOutputTrigger = TIM_TRGO_RESET;
  sMasterConfig.MasterSlaveMode = TIM_MASTERSLAVEMODE_DISABLE;
  if (HAL_TIMEx_MasterConfigSynchronization(&htim4, &sMasterConfig) != HAL_OK)
  {
    Error_Handler();
  }

}

static void MX_TIM5_Init(void)
{

  TIM_Encoder_InitTypeDef sConfig = {0};
  TIM_MasterConfigTypeDef sMasterConfig = {0};

  htim5.Instance = TIM5;
  htim5.Init.Prescaler = 0;
  htim5.Init.CounterMode = TIM_COUNTERMODE_UP;
  htim5.Init.Period = 4294967295;
  htim5.Init.ClockDivision = TIM_CLOCKDIVISION_DIV1;
  htim5.Init.AutoReloadPreload = TIM_AUTORELOAD_PRELOAD_DISABLE;
  sConfig.EncoderMode = TIM_ENCODERMODE_TI1;
  sConfig.IC1Polarity = TIM_ICPOLARITY_RISING;
  sConfig.IC1Selection = TIM_ICSELECTION_DIRECTTI;
  sConfig.IC1Prescaler = TIM_ICPSC_DIV1;
  sConfig.IC1Filter = 0;
  sConfig.IC2Polarity = TIM_ICPOLARITY_RISING;
  sConfig.IC2Selection = TIM_ICSELECTION_DIRECTTI;
  sConfig.IC2Prescaler = TIM_ICPSC_DIV1;
  sConfig.IC2Filter = 0;
  if (HAL_TIM_Encoder_Init(&htim5, &sConfig) != HAL_OK)
  {
    Error_Handler();
  }
  sMasterConfig.MasterOutputTrigger = TIM_TRGO_RESET;
  sMasterConfig.MasterSlaveMode = TIM_MASTERSLAVEMODE_DISABLE;
  if (HAL_TIMEx_MasterConfigSynchronization(&htim5, &sMasterConfig) != HAL_OK)
  {
    Error_Handler();
  }

}

static void MX_TIM9_Init(void)
{

  TIM_ClockConfigTypeDef sClockSourceConfig = {0};
  TIM_OC_InitTypeDef sConfigOC = {0};

  htim9.Instance = TIM9;
  htim9.Init.Prescaler = 100-1;
  htim9.Init.CounterMode = TIM_COUNTERMODE_UP;
  htim9.Init.Period = 1000-1;
  htim9.Init.ClockDivision = TIM_CLOCKDIVISION_DIV1;
  htim9.Init.AutoReloadPreload = TIM_AUTORELOAD_PRELOAD_DISABLE;
  if (HAL_TIM_Base_Init(&htim9) != HAL_OK)
  {
    Error_Handler();
  }
  sClockSourceConfig.ClockSource = TIM_CLOCKSOURCE_INTERNAL;
  if (HAL_TIM_ConfigClockSource(&htim9, &sClockSourceConfig) != HAL_OK)
  {
    Error_Handler();
  }
  if (HAL_TIM_PWM_Init(&htim9) != HAL_OK)
  {
    Error_Handler();
  }
  sConfigOC.OCMode = TIM_OCMODE_PWM1;
  sConfigOC.Pulse = 0;
  sConfigOC.OCPolarity = TIM_OCPOLARITY_HIGH;
  sConfigOC.OCFastMode = TIM_OCFAST_DISABLE;
  if (HAL_TIM_PWM_ConfigChannel(&htim9, &sConfigOC, TIM_CHANNEL_1) != HAL_OK)
  {
    Error_Handler();
  }
  if (HAL_TIM_PWM_ConfigChannel(&htim9, &sConfigOC, TIM_CHANNEL_2) != HAL_OK)
  {
    Error_Handler();
  }
  HAL_TIM_MspPostInit(&htim9);

}

static void MX_TIM10_Init(void)
{

  TIM_OC_InitTypeDef sConfigOC = {0};

  htim10.Instance = TIM10;
  htim10.Init.Prescaler = 100-1;
  htim10.Init.CounterMode = TIM_COUNTERMODE_UP;
  htim10.Init.Period = 1000-1;
  htim10.Init.ClockDivision = TIM_CLOCKDIVISION_DIV1;
  htim10.Init.AutoReloadPreload = TIM_AUTORELOAD_PRELOAD_DISABLE;
  if (HAL_TIM_Base_Init(&htim10) != HAL_OK)
  {
    Error_Handler();
  }
  if (HAL_TIM_PWM_Init(&htim10) != HAL_OK)
  {
    Error_Handler();
  }
  sConfigOC.OCMode = TIM_OCMODE_PWM1;
  sConfigOC.Pulse = 0;
  sConfigOC.OCPolarity = TIM_OCPOLARITY_HIGH;
  sConfigOC.OCFastMode = TIM_OCFAST_DISABLE;
  if (HAL_TIM_PWM_ConfigChannel(&htim10, &sConfigOC, TIM_CHANNEL_1) != HAL_OK)
  {
    Error_Handler();
  }
  HAL_TIM_MspPostInit(&htim10);

}

static void MX_TIM11_Init(void)
{

  TIM_OC_InitTypeDef sConfigOC = {0};

  htim11.Instance = TIM11;
  htim11.Init.Prescaler = 100-1;
  htim11.Init.CounterMode = TIM_COUNTERMODE_UP;
  htim11.Init.Period = 1000-1;
  htim11.Init.ClockDivision = TIM_CLOCKDIVISION_DIV1;
  htim11.Init.AutoReloadPreload = TIM_AUTORELOAD_PRELOAD_DISABLE;
  if (HAL_TIM_Base_Init(&htim11) != HAL_OK)
  {
    Error_Handler();
  }
  if (HAL_TIM_PWM_Init(&htim11) != HAL_OK)
  {
    Error_Handler();
  }
  sConfigOC.OCMode = TIM_OCMODE_PWM1;
  sConfigOC.Pulse = 0;
  sConfigOC.OCPolarity = TIM_OCPOLARITY_HIGH;
  sConfigOC.OCFastMode = TIM_OCFAST_DISABLE;
  if (HAL_TIM_PWM_ConfigChannel(&htim11, &sConfigOC, TIM_CHANNEL_1) != HAL_OK)
  {
    Error_Handler();
  }
  HAL_TIM_MspPostInit(&htim11);

}

static void MX_USART6_UART_Init(void)
{

  huart6.Instance = USART6;
  huart6.Init.BaudRate = 115200;
  huart6.Init.WordLength = UART_WORDLENGTH_8B;
  huart6.Init.StopBits = UART_STOPBITS_1;
  huart6.Init.Parity = UART_PARITY_NONE;
  huart6.Init.Mode = UART_MODE_TX_RX;
  huart6.Init.HwFlowCtl = UART_HWCONTROL_NONE;
  huart6.Init.OverSampling = UART_OVERSAMPLING_16;
  if (HAL_UART_Init(&huart6) != HAL_OK)
  {
    Error_Handler();
  }

}

static void MX_DMA_Init(void)
{

  /* DMA controller clock enable */
  __HAL_RCC_DMA2_CLK_ENABLE();

  /* DMA interrupt init */
  /* DMA2_Stream1_IRQn interrupt configuration */
  HAL_NVIC_SetPriority(DMA2_Stream1_IRQn, 0, 0);
  HAL_NVIC_EnableIRQ(DMA2_Stream1_IRQn);

}

static void MX_GPIO_Init(void)
{
  GPIO_InitTypeDef GPIO_InitStruct = {0};

  /* GPIO Ports Clock Enable */
  __HAL_RCC_GPIOC_CLK_ENABLE();
  __HAL_RCC_GPIOH_CLK_ENABLE();
  __HAL_RCC_GPIOA_CLK_ENABLE();
  __HAL_RCC_GPIOB_CLK_ENABLE();

  /*Configure GPIO pin Output Level */
  HAL_GPIO_WritePin(GPIOC, LED_UART_Pin|IN3_Pin|IN4_Pin, GPIO_PIN_RESET);

  /*Configure GPIO pin Output Level */
  HAL_GPIO_WritePin(GPIOA, Buzzer_Pin|ENR_D_Pin|ENL_D_Pin, GPIO_PIN_RESET);

  /*Configure GPIO pin Output Level */
  HAL_GPIO_WritePin(GPIOB, ENR_A_Pin|ENL_A_Pin|ENR_B_Pin|ENL_B_Pin
                          |ENR_C_Pin|ENL_C_Pin|IN1_Pin|IN2_Pin, GPIO_PIN_RESET);

  /*Configure GPIO pins : LED_UART_Pin IN3_Pin IN4_Pin */
  GPIO_InitStruct.Pin = LED_UART_Pin|IN3_Pin|IN4_Pin;
  GPIO_InitStruct.Mode = GPIO_MODE_OUTPUT_PP;
  GPIO_InitStruct.Pull = GPIO_NOPULL;
  GPIO_InitStruct.Speed = GPIO_SPEED_FREQ_LOW;
  HAL_GPIO_Init(GPIOC, &GPIO_InitStruct);

  /*Configure GPIO pins : Buzzer_Pin ENR_D_Pin ENL_D_Pin */
  GPIO_InitStruct.Pin = Buzzer_Pin|ENR_D_Pin|ENL_D_Pin;
  GPIO_InitStruct.Mode = GPIO_MODE_OUTPUT_PP;
  GPIO_InitStruct.Pull = GPIO_NOPULL;
  GPIO_InitStruct.Speed = GPIO_SPEED_FREQ_LOW;
  HAL_GPIO_Init(GPIOA, &GPIO_InitStruct);

  /*Configure GPIO pins : ENR_A_Pin ENL_A_Pin ENR_B_Pin ENL_B_Pin
                           ENR_C_Pin ENL_C_Pin IN1_Pin IN2_Pin */
  GPIO_InitStruct.Pin = ENR_A_Pin|ENL_A_Pin|ENR_B_Pin|ENL_B_Pin
                          |ENR_C_Pin|ENL_C_Pin|IN1_Pin|IN2_Pin;
  GPIO_InitStruct.Mode = GPIO_MODE_OUTPUT_PP;
  GPIO_InitStruct.Pull = GPIO_NOPULL;
  GPIO_InitStruct.Speed = GPIO_SPEED_FREQ_LOW;
  HAL_GPIO_Init(GPIOB, &GPIO_InitStruct);

}

/* USER CODE BEGIN 4 */

bool run_to_point(double sx, double sy, double st, double error){
	if(abs(kinematic.Sx - sx) < error && abs(kinematic.Sy - sy) < error ){
		agv_reset_all(motor_A, motor_B, motor_C, motor_D);
		agv_stop_all(motor_A, motor_B, motor_C, motor_D);
		return true;
	}
	else{
		PIDController_Update(&pid_vx, sx, kinematic.Sx);
		PIDController_Update(&pid_vy, sy, kinematic.Sy);
//		PIDController_Update(&pid_vt, st, kinematic.St);
		agv_reset_all(motor_A, motor_B, motor_C, motor_D);
		agv_inverse_kinematic(pid_vx.out, pid_vy.out, 0, 0, motor_A, motor_B, motor_C, motor_D);
		return false;
	}

}

bool handle_heading(int16_t heading, int16_t error){
	// Sudut 0 - 180 - 0
	if(current_msgid < msgid){
		double degree = 0;
		if(message_from_sensor.yaw > 1800){
			degree = ((-message_from_sensor.yaw)+3600)/10;
			if(abs(heading - degree) < error){
				agv_reset_all(motor_A, motor_B, motor_C, motor_D);
				agv_stop_all(motor_A, motor_B, motor_C, motor_D);
				return true;
			}
			else{
				PIDController_Update(&pid_yaw, heading, degree);
				agv_reset_all(motor_A, motor_B, motor_C, motor_D);
				agv_inverse_kinematic(0, 0, pid_yaw.out, 0, motor_A, motor_B, motor_C, motor_D);
			}
		}
		else{
			degree = ((-message_from_sensor.yaw)+3600)/10;
			if(abs(heading - degree) < error){
				agv_reset_all(motor_A, motor_B, motor_C, motor_D);
				agv_stop_all(motor_A, motor_B, motor_C, motor_D);
				return true;
			}
			else{
				PIDController_Update(&pid_yaw, heading, degree);
				agv_reset_all(motor_A, motor_B, motor_C, motor_D);
				agv_inverse_kinematic(0, 0, -pid_yaw.out, 0, motor_A, motor_B, motor_C, motor_D);
			}
		}
		current_msgid = msgid;
	}
	return false;
}

bool set_heading(int16_t heading, int16_t error){
	if(current_msgid < msgid){
		double degree = (3600 - message_from_sensor.yaw)/10.0;

		if(degree > 180){
			degree = 360 - degree;
		}

		if(abs(heading - degree) < error){
			agv_reset_all(motor_A, motor_B, motor_C, motor_D);
			agv_stop_all(motor_A, motor_B, motor_C, motor_D);
			return true;
		}
		else{
			PIDController_Update(&pid_yaw, heading, degree);
			agv_reset_all(motor_A, motor_B, motor_C, motor_D);

			agv_inverse_kinematic(0, 0, degree > 0 ? pid_yaw.out : -pid_yaw.out, 0, motor_A, motor_B, motor_C, motor_D);
		}
		current_msgid = msgid;
	}
	return false;
}

bool run_to_point_with_yaw(int16_t sx, int16_t sy, uint16_t heading, int16_t error){
//	if(current_msgid < msgid){
		double degree = 0;
		if(abs(kinematic.Sx - sx) < error && abs(kinematic.Sy - sy) < error && abs(degree - heading) < 1){
			agv_reset_all(motor_A, motor_B, motor_C, motor_D);
			agv_stop_all(motor_A, motor_B, motor_C, motor_D);
			return true;
		}
		else{
			if(message_from_sensor.yaw > 1800){
				degree = ((-message_from_sensor.yaw)+3600)/10;
				PIDController_Update(&pid_vx, sx, kinematic.Sx);
				PIDController_Update(&pid_vy, sy, kinematic.Sy);
				PIDController_Update(&pid_yaw, heading, degree);
				agv_reset_all(motor_A, motor_B, motor_C, motor_D);
				agv_inverse_kinematic(pid_vx.out, pid_vy.out, (pid_yaw.out), 0, motor_A, motor_B, motor_C, motor_D);
				return false;
			}
			else if(message_from_sensor.yaw < 1800){
				degree = ((-message_from_sensor.yaw)+3600)/10;
				PIDController_Update(&pid_vx, sx, kinematic.Sx);
				PIDController_Update(&pid_vy, sy, kinematic.Sy);
				PIDController_Update(&pid_yaw, heading, -degree);
				agv_reset_all(motor_A, motor_B, motor_C, motor_D);
				agv_inverse_kinematic(pid_vx.out, pid_vy.out, (pid_yaw.out), 0, motor_A, motor_B, motor_C, motor_D);
				return false;
			}
			else{
				degree = ((-message_from_sensor.yaw)+3600)/10;
				PIDController_Update(&pid_vx, sx, kinematic.Sx);
				PIDController_Update(&pid_vy, sy, kinematic.Sy);
				PIDController_Update(&pid_yaw, heading, 0);
				agv_reset_all(motor_A, motor_B, motor_C, motor_D);
				agv_inverse_kinematic(pid_vx.out, pid_vy.out, (pid_yaw.out), 0, motor_A, motor_B, motor_C, motor_D);
				return false;
			}

		}
//		current_msgid = msgid;
//	}
	return false;
}

bool run_to_point_orientation(double sx, double sy, uint16_t heading, double error){
	if(current_msgid < msgid){
		double degree = 0;
		if(abs(kinematic.Sx - sx) < error && abs(kinematic.Sy - sy) < error && abs(degree - heading) < error){
			agv_reset_all(motor_A, motor_B, motor_C, motor_D);
			agv_stop_all(motor_A, motor_B, motor_C, motor_D);
			return true;
		}
		else{
			if(message_from_sensor.yaw < 0){
				degree = (2*18000 + message_from_sensor.yaw)/100;
			}
			else{
				degree = (message_from_sensor.yaw)/100;
			}
			PIDController_Update(&pid_vx, sx, kinematic.Sx);
			PIDController_Update(&pid_vy, sy, kinematic.Sy);
			PIDController_Update(&pid_yaw, heading, degree);
			agv_reset_all(motor_A, motor_B, motor_C, motor_D);
			agv_inverse_kinematic(pid_vx.out, pid_vy.out, (-pid_yaw.out), 0, motor_A, motor_B, motor_C, motor_D);
			return false;
		}
		current_msgid = msgid;
	}
	return false;
}

/* USER CODE END 4 */

void Error_Handler(void)
{
  __disable_irq();
  while (1)
  {
  }
}
